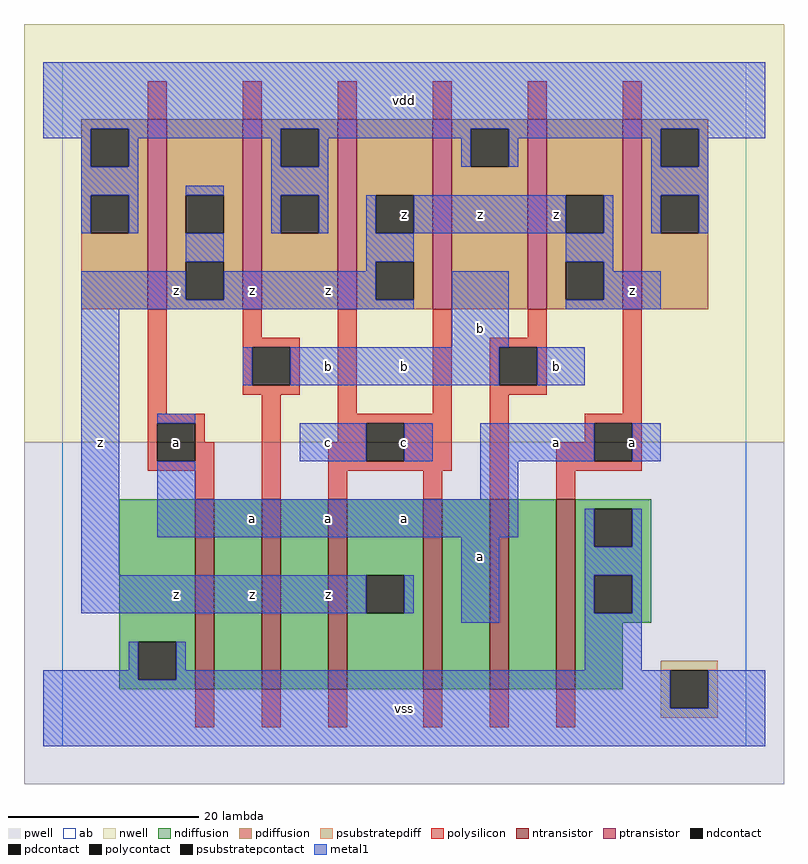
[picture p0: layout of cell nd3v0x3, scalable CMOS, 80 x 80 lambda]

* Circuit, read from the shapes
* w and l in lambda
.subckt nd3v0x3 a b c vdd vss z
M1 n1 a vss vss nfet w=20 l=2
M2 n2 b n1 vss nfet w=20 l=2
M3 z c n2 vss nfet w=20 l=2
M4 n3 c z vss nfet w=20 l=2
M5 n4 b n3 vss nfet w=20 l=2
M6 vss a n4 vss nfet w=20 l=2
M7 z a vdd n5 pfet w=20 l=2 m=2
M8 vdd b z n5 pfet w=20 l=2 m=2
M9 z c vdd n5 pfet w=20 l=2 m=2
.ends

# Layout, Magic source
magic
tech scmos
<< ab >>
rect 0 0 72 72
<< pwell >>
rect -4 -4 76 32
<< nwell >>
rect -4 32 76 76
<< polysilicon >>
rect 9 66 11 70
rect 19 66 21 70
rect 29 66 31 70
rect 39 66 41 70
rect 49 66 51 70
rect 59 66 61 70
rect 9 35 11 46
rect 19 43 21 46
rect 19 42 25 43
rect 19 38 20 42
rect 24 38 25 42
rect 19 37 25 38
rect 9 34 15 35
rect 9 30 10 34
rect 14 32 15 34
rect 14 30 16 32
rect 9 29 16 30
rect 14 26 16 29
rect 21 26 23 37
rect 29 35 31 46
rect 39 35 41 46
rect 49 43 51 46
rect 29 34 41 35
rect 29 32 32 34
rect 28 30 32 32
rect 36 30 41 34
rect 28 29 41 30
rect 45 42 51 43
rect 45 38 46 42
rect 50 38 51 42
rect 45 37 51 38
rect 28 26 30 29
rect 38 26 40 29
rect 45 26 47 37
rect 59 35 61 46
rect 55 34 61 35
rect 55 32 56 34
rect 52 30 56 32
rect 60 30 61 34
rect 52 29 61 30
rect 52 26 54 29
rect 14 2 16 6
rect 21 2 23 6
rect 28 2 30 6
rect 38 2 40 6
rect 45 2 47 6
rect 52 2 54 6
<< ndiffusion >>
rect 6 11 14 26
rect 6 7 8 11
rect 12 7 14 11
rect 6 6 14 7
rect 16 6 21 26
rect 23 6 28 26
rect 30 18 38 26
rect 30 14 32 18
rect 36 14 38 18
rect 30 6 38 14
rect 40 6 45 26
rect 47 6 52 26
rect 54 25 62 26
rect 54 21 56 25
rect 60 21 62 25
rect 54 18 62 21
rect 54 14 56 18
rect 60 14 62 18
rect 54 13 62 14
rect 54 6 59 13
<< pdiffusion >>
rect 2 65 9 66
rect 2 61 3 65
rect 7 61 9 65
rect 2 58 9 61
rect 2 54 3 58
rect 7 54 9 58
rect 2 46 9 54
rect 11 58 19 66
rect 11 54 13 58
rect 17 54 19 58
rect 11 51 19 54
rect 11 47 13 51
rect 17 47 19 51
rect 11 46 19 47
rect 21 65 29 66
rect 21 61 23 65
rect 27 61 29 65
rect 21 58 29 61
rect 21 54 23 58
rect 27 54 29 58
rect 21 46 29 54
rect 31 58 39 66
rect 31 54 33 58
rect 37 54 39 58
rect 31 51 39 54
rect 31 47 33 51
rect 37 47 39 51
rect 31 46 39 47
rect 41 65 49 66
rect 41 61 43 65
rect 47 61 49 65
rect 41 46 49 61
rect 51 58 59 66
rect 51 54 53 58
rect 57 54 59 58
rect 51 51 59 54
rect 51 47 53 51
rect 57 47 59 51
rect 51 46 59 47
rect 61 65 68 66
rect 61 61 63 65
rect 67 61 68 65
rect 61 58 68 61
rect 61 54 63 58
rect 67 54 68 58
rect 61 46 68 54
<< metal1 >>
rect -2 65 74 72
rect -2 64 3 65
rect 2 61 3 64
rect 7 64 23 65
rect 7 61 8 64
rect 2 58 8 61
rect 22 61 23 64
rect 27 64 43 65
rect 27 61 28 64
rect 42 61 43 64
rect 47 64 63 65
rect 47 61 48 64
rect 62 61 63 64
rect 67 64 74 65
rect 67 61 68 64
rect 2 54 3 58
rect 7 54 8 58
rect 13 58 17 59
rect 22 58 28 61
rect 62 58 68 61
rect 22 54 23 58
rect 27 54 28 58
rect 32 54 33 58
rect 37 54 53 58
rect 57 54 58 58
rect 62 54 63 58
rect 67 54 68 58
rect 13 51 17 54
rect 2 47 13 50
rect 32 51 37 54
rect 32 50 33 51
rect 17 47 33 50
rect 53 51 58 54
rect 2 46 37 47
rect 2 18 6 46
rect 41 42 47 50
rect 57 50 58 51
rect 57 47 63 50
rect 53 46 63 47
rect 19 38 20 42
rect 24 38 46 42
rect 50 38 55 42
rect 10 34 14 35
rect 25 30 32 34
rect 36 30 39 34
rect 44 30 56 34
rect 60 30 63 34
rect 10 26 14 30
rect 44 26 48 30
rect 10 22 48 26
rect 2 14 32 18
rect 36 14 37 18
rect 42 13 46 22
rect 55 21 56 25
rect 60 21 61 25
rect 55 18 61 21
rect 55 14 56 18
rect 60 14 61 18
rect 7 8 8 11
rect -2 7 8 8
rect 12 8 13 11
rect 55 8 61 14
rect 12 7 64 8
rect -2 4 64 7
rect 68 4 74 8
rect -2 0 74 4
<< ntransistor >>
rect 14 6 16 26
rect 21 6 23 26
rect 28 6 30 26
rect 38 6 40 26
rect 45 6 47 26
rect 52 6 54 26
<< ptransistor >>
rect 9 46 11 66
rect 19 46 21 66
rect 29 46 31 66
rect 39 46 41 66
rect 49 46 51 66
rect 59 46 61 66
<< polycontact >>
rect 20 38 24 42
rect 10 30 14 34
rect 32 30 36 34
rect 46 38 50 42
rect 56 30 60 34
<< ndcontact >>
rect 8 7 12 11
rect 32 14 36 18
rect 56 21 60 25
rect 56 14 60 18
<< pdcontact >>
rect 3 61 7 65
rect 3 54 7 58
rect 13 54 17 58
rect 13 47 17 51
rect 23 61 27 65
rect 23 54 27 58
rect 33 54 37 58
rect 33 47 37 51
rect 43 61 47 65
rect 53 54 57 58
rect 53 47 57 51
rect 63 61 67 65
rect 63 54 67 58
<< psubstratepcontact >>
rect 64 4 68 8
<< psubstratepdiff >>
rect 63 8 69 9
rect 63 4 64 8
rect 68 4 69 8
rect 63 3 69 4
<< labels >>
rlabel metal1 4 32 4 32 6 z
rlabel metal1 20 16 20 16 6 z
rlabel metal1 12 16 12 16 6 z
rlabel metal1 20 24 20 24 6 a
rlabel polycontact 12 32 12 32 6 a
rlabel metal1 12 48 12 48 6 z
rlabel metal1 20 48 20 48 6 z
rlabel metal1 36 4 36 4 6 vss
rlabel metal1 28 16 28 16 6 z
rlabel metal1 28 24 28 24 6 a
rlabel metal1 36 24 36 24 6 a
rlabel metal1 36 32 36 32 6 c
rlabel metal1 28 32 28 32 6 c
rlabel metal1 28 40 28 40 6 b
rlabel metal1 36 40 36 40 6 b
rlabel metal1 28 48 28 48 6 z
rlabel pdcontact 36 56 36 56 6 z
rlabel metal1 36 68 36 68 6 vdd
rlabel metal1 44 20 44 20 6 a
rlabel metal1 52 32 52 32 6 a
rlabel metal1 52 40 52 40 6 b
rlabel metal1 44 44 44 44 6 b
rlabel metal1 52 56 52 56 6 z
rlabel metal1 44 56 44 56 6 z
rlabel metal1 60 32 60 32 6 a
rlabel metal1 60 48 60 48 6 z
<< end >>
